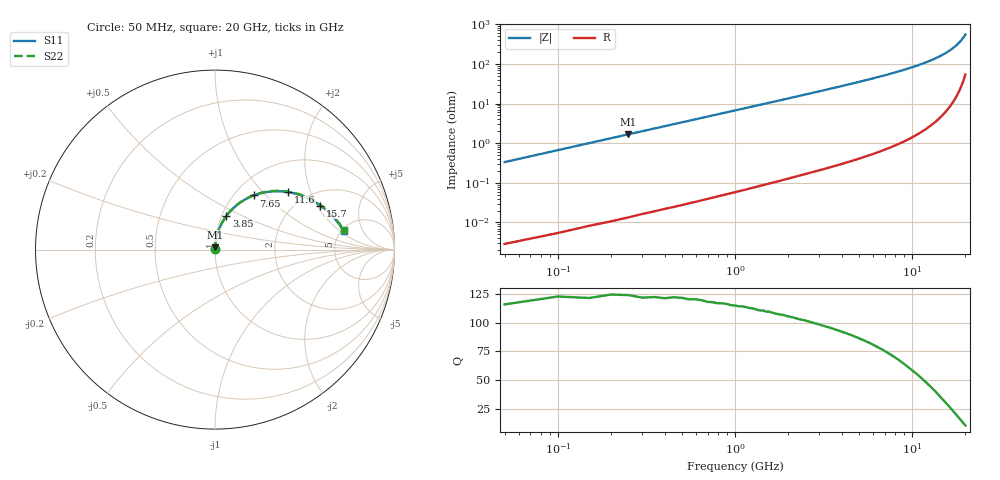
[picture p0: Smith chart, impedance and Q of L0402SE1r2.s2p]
!	AVX Thin Film Operation
!	Date:		5 January 2004
!	Description: 	Accu-L®  L0402 Series Thin Film RF Inductors
!	Part Number:	L04021R2AHNTR
!	50 MHz-20GHz Serial Measurements
#	mhz	S	db	R	50
!	S11	S11	S21	S21	S12	S12	S22	S22
!	dB	Phase	dB	Phase	dB	Phase	dB	Phase
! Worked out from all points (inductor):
!   400 points, 50 MHz to 20 GHz, reference 50 ohm
!   read as 1/Y11, port 2 shorted: L = 1.06 nH near 150 MHz
!   highest Q = 122 at 250 MHz (marker M1), where L = 1.06 nH
!   S11 on the Smith chart (normalised r, x): 50 MHz: 1.00, +0.01; 3.85 GHz: 1.05, +0.41; 7.65 GHz: 1.22, +0.86; 11.6 GHz: 1.62, +1.42; 15.7 GHz: 2.58, +2.13; 20 GHz: 5.27, +2.27
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50  -51.69 89.2  -0.00 -0.2  -0.00 -0.2  -51.69 89.2
100  -45.66 89.0  -0.00 -0.5  -0.00 -0.5  -45.66 89.0
150  -42.14 88.7  -0.00 -0.7  -0.00 -0.7  -42.14 88.7
200  -39.64 88.5  -0.00 -0.9  -0.00 -0.9  -39.64 88.5
250  -37.70 88.2  -0.00 -1.2  -0.00 -1.2  -37.70 88.3
400  -33.62 87.5  -0.00 -1.9  -0.00 -1.9  -33.62 87.5
600  -30.10 86.6  -0.01 -2.8  -0.01 -2.8  -30.10 86.6
850  -27.08 85.4  -0.01 -4.0  -0.01 -4.0  -27.08 85.4
1200  -24.09 83.7  -0.02 -5.6  -0.02 -5.6  -24.09 83.8
1600  -21.60 81.9  -0.04 -7.4  -0.04 -7.4  -21.60 81.9
2100  -19.26 79.5  -0.06 -9.8  -0.06 -9.8  -19.26 79.6
3400  -15.15 73.4  -0.15 -15.8  -0.15 -15.8  -15.15 73.6
3850  -14.11 71.4  -0.20 -17.8  -0.20 -17.8  -14.11 71.5
5150  -11.71 65.4  -0.34 -23.7  -0.34 -23.7  -11.71 65.6
6700  -9.62 58.5  -0.55 -30.5  -0.55 -30.5  -9.62 58.8
7650  -8.60 54.3  -0.70 -34.6  -0.70 -34.6  -8.60 54.7
10050  -6.64 44.2  -1.14 -44.6  -1.14 -44.6  -6.64 44.6
11600  -5.69 38.0  -1.46 -50.7  -1.46 -50.7  -5.69 38.5
13350  -4.83 31.3  -1.86 -57.3  -1.86 -57.3  -4.83 31.8
15700  -3.93 22.6  -2.42 -65.8  -2.42 -65.8  -3.93 23.2
16700  -3.61 19.1  -2.66 -69.2  -2.66 -69.2  -3.61 19.7
20000  -2.79 8.1  -3.50 -79.9  -3.50 -79.9  -2.79 8.8
